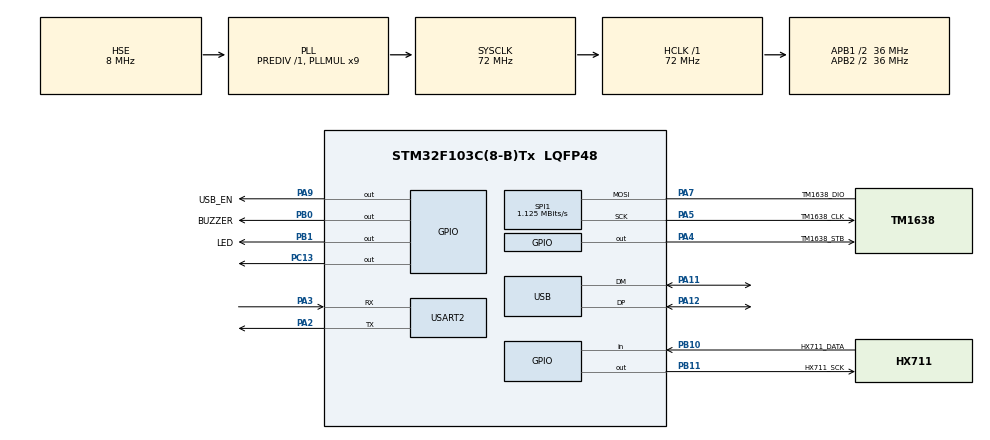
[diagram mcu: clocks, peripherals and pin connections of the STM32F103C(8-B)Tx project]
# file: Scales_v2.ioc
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FREERTOS.BinarySemaphores01=myBinarySem01,Dynamic,NULL
FREERTOS.Tasks01=defaultTask,0,256,StartDefaultTask,Default,NULL,Dynamic,NULL,NULL
FREERTOS.configMINIMAL_STACK_SIZE=256
FREERTOS.configTOTAL_HEAP_SIZE=8500
FREERTOS.configUSE_TIMERS=1
Mcu.Family=STM32F1
Mcu.Name=STM32F103C(8-B)Tx
Mcu.Package=LQFP48
NVIC.PriorityGroup=NVIC_PRIORITYGROUP_4
NVIC.TIM4_IRQn=true\:0\:0\:false\:false\:true\:false\:false
NVIC.TimeBase=TIM4_IRQn
NVIC.TimeBaseIP=TIM4
NVIC.USB_LP_CAN1_RX0_IRQn=true\:5\:0\:false\:false\:true\:true\:false
PA11.Mode=Device
PA11.Signal=USB_DM
PA12.Mode=Device
PA12.Signal=USB_DP
PA13.Mode=Serial_Wire
PA13.Signal=SYS_JTMS-SWDIO
PA14.Mode=Serial_Wire
PA14.Signal=SYS_JTCK-SWCLK
PA2.Mode=Asynchronous
PA2.Signal=USART2_TX
PA3.Mode=Asynchronous
PA3.Signal=USART2_RX
PA4.GPIO_Label=TM1638_STB
PA4.GPIO_ModeDefaultOutputPP=GPIO_MODE_OUTPUT_PP
PA4.GPIO_PuPd=GPIO_PULLUP
PA4.GPIO_Speed=GPIO_SPEED_FREQ_LOW
PA4.PinState=GPIO_PIN_RESET
PA4.Signal=GPIO_Output
PA5.GPIO_Label=TM1638_CLK
PA5.GPIO_Mode=GPIO_MODE_AF_PP
PA5.GPIO_Speed=GPIO_SPEED_FREQ_HIGH
PA5.Mode=Simplex_Bidirectional_Master
PA5.Signal=SPI1_SCK
PA7.GPIO_Label=TM1638_DIO
PA7.GPIO_Mode=GPIO_MODE_AF_PP
PA7.GPIO_Speed=GPIO_SPEED_FREQ_HIGH
PA7.Mode=Simplex_Bidirectional_Master
PA7.Signal=SPI1_MOSI
PA9.GPIO_Label=USB_EN
PA9.GPIO_PuPd=GPIO_PULLDOWN
PA9.Signal=GPIO_Output
PB0.GPIO_Label=BUZZER
PB0.GPIO_ModeDefaultOutputPP=GPIO_MODE_OUTPUT_PP
PB0.Signal=GPIO_Output
PB1.GPIO_Label=LED
PB1.Signal=GPIO_Output
PB10.GPIO_Label=HX711_DATA
PB10.GPIO_PuPd=GPIO_PULLUP
PB10.Signal=GPIO_Input
PB11.GPIO_Label=HX711_SCK
PB11.Signal=GPIO_Output
PC13-TAMPER-RTC.Signal=GPIO_Output
PC14-OSC32_IN.Mode=LSE-External-Oscillator
PC14-OSC32_IN.Signal=RCC_OSC32_IN
PC15-OSC32_OUT.Mode=LSE-External-Oscillator
PC15-OSC32_OUT.Signal=RCC_OSC32_OUT
PD0-OSC_IN.Mode=HSE-External-Oscillator
PD0-OSC_IN.Signal=RCC_OSC_IN
PD1-OSC_OUT.Mode=HSE-External-Oscillator
PD1-OSC_OUT.Signal=RCC_OSC_OUT
ProjectManager.HeapSize=0x200
ProjectManager.StackSize=0x400
ProjectManager.TargetToolchain=TrueSTUDIO
RCC.AHBFreq_Value=72000000
RCC.APB1CLKDivider=RCC_HCLK_DIV2
RCC.APB1Freq_Value=36000000
RCC.APB1TimFreq_Value=72000000
RCC.APB2CLKDivider=RCC_HCLK_DIV2
RCC.APB2Freq_Value=36000000
RCC.APB2TimFreq_Value=72000000
RCC.HCLKFreq_Value=72000000
RCC.PLLMUL=RCC_PLL_MUL9
RCC.PLLSourceVirtual=RCC_PLLSOURCE_HSE
RCC.SYSCLKFreq_VALUE=72000000
RCC.SYSCLKSource=RCC_SYSCLKSOURCE_PLLCLK
RCC.USBFreq_Value=48000000
RCC.USBPrescaler=RCC_USBCLKSOURCE_PLL_DIV1_5
SPI1.BaudRatePrescaler=SPI_BAUDRATEPRESCALER_32
SPI1.CalculateBaudRate=1.125 MBits/s
SPI1.Direction=SPI_DIRECTION_1LINE
SPI1.FirstBit=SPI_FIRSTBIT_LSB
SPI1.Mode=SPI_MODE_MASTER
SPI1.VirtualType=VM_MASTER
USART2.VirtualMode=VM_ASYNC
USB_DEVICE.CLASS_NAME_FS=CDC
USB_DEVICE.USBD_MAX_NUM_INTERFACES=10
USB_DEVICE.VirtualMode=Cdc
USB_DEVICE.VirtualModeFS=Cdc_FS
VP_FREERTOS_VS_ENABLE.Mode=Enabled
VP_SYS_VS_tim4.Mode=TIM4
VP_TIM3_VS_ClockSourceINT.Mode=Internal
VP_USB_DEVICE_VS_USB_DEVICE_CDC_FS.Mode=CDC_FS
board=custom

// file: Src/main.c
/**
  ******************************************************************************
  * @file           : main.c
  * @brief          : Main program body
  * source code by hatab . Lutsk,UA'2019
  * Scales v2
  ******************************************************************************
  *
  ******************************************************************************
  */
#include "main.h"
#include "stm32f1xx_hal.h"
#include "cmsis_os.h"
#include "usb_device.h"

/* USER CODE BEGIN Includes */
//#include "float.h"
//#include "stdio.h"
#include "string.h"
#include "hx711.h"
#include "TM1638.h"
#include "eeprom.h"
#include "dwt_delay.h"
//#include "lcd.h"
/* USER CODE END Includes */

SPI_HandleTypeDef hspi1;

TIM_HandleTypeDef htim3;

UART_HandleTypeDef huart2;

osThreadId defaultTaskHandle;
osSemaphoreId myBinarySem01Handle;

/* USER CODE BEGIN PV */
extern USBD_HandleTypeDef hUsbDeviceFS;
osThreadId KeyboardTaskHandle;
HX711 hx711_config;
const char* INFO_PAGE = {"Scales v2.0, by Sergik (06.2020)\n\r\n\r"
		"usage:\n\r"
		"INFO        -this page\n\r"
		"CONFIG      -get config data\n\r"
		"BULK_ON     -bulk mode on\n\r"
		"BULK_OFF    -bulk mode off\n\r"
		"TARE        -taring scales (ZERO)\n\r"
		"AUTO_TAR:x  -auto taring mode (x=0or!0)\n\r"
		"TARE1KG     -taring with 1kg\n\r"
		"TARE2KG     -taring with 2g\n\r"
		"TARE_ETALON -change etalon weight for taring (in process...)\n\r"
		"SAVE_CFG    -store cal.data to EEPROM\n\r"
		"Send data to host DISABLED !\nSend any command to continue.\n"};

const char* CONFIG_STRING = {"BULK_ON:%01u;AUTO_TAR:%01u;CFG1:%06lu;CFG2:%06lu;ZERO:%06lu;TARE_WEIGHT:%03lu;CURRENT_WEIGHT:%05lu\nSend data to host DISABLED !\nSend any command to continue.\n"};
const char* TARE1KG_OK = {"TARE1KG:OK, UNITS:%06lua\n\r"};
const char* TARE2KG_OK = {"TARE2KG:OK, UNITS:%06lua\n\r"};

uint8_t snd_flag = 0;
uint8_t bulk_mode = 0;
uint8_t auto_taring_mode = 0;
uint16_t taring_etalon_weight = 1000.0f;
uint8_t old_flag_stab ,flag_stab;
uint8_t old_flag_usb ,flag_usb ;
uint8_t key = 0;
uint8_t cnt_auto_tare = 0;
uint8_t cnt_show_weight = 0;
uint8_t cnt_value_read = 0;
uint8_t us_const1 = 20;
//
// 20kg china sensor:BULK_ON:0;AUTO_CAL:0;CFG1:336996;CFG2:350075;ZERO:323121;TARE_WEIGHT:1000
// 50kg Zemic :BULK_ON:0;AUTO_CAL:0;CFG1:434080;CFG2:442853;ZERO:425397;TARE_WEIGHT:1000
//
int32_t RealZeroLevel = 478191;
int32_t ZeroLevel = 323121;
int32_t Real1kgLevel = 568495;
int32_t Real2kgLevel = 659005;
int32_t _1kgLevel = 336996;
int32_t _2kgLevel = 350075;
int32_t value;
int32_t weight_array[MAX_WEIGHT_ARRAY];
int32_t DataStore[NUM_CAL];// ={0,1,2,3};
/* USER CODE END PV */

void SystemClock_Config(void);
static void MX_GPIO_Init(void);
static void MX_SPI1_Init(void);
static void MX_USART2_UART_Init(void);
static void MX_TIM3_Init(void);
void StartDefaultTask(void const * argument);

/* USER CODE BEGIN PFP */
/* Private function prototypes -----------------------------------------------*/
void StartKeyboardTask(void const * argument);
void beep(uint16_t i);
void WriteDefaultsConstantToEEP(void);
void ReadConstantsFromEEP(void);
void TareScale();
/* USER CODE END PFP */

/* USER CODE BEGIN 0 */
//
// SPI low level functions
//
void spi_Send(uint8_t data) {
	HAL_SPI_Transmit(&hspi1, &data, 1, 1000);
}

void spi_Read_Reg( uint8_t data_mas[]) {//+
	uint8_t key_Reg_Adr =0x42;

	SPI1->CR1 |= SPI_CR1_BIDIOE;
	HAL_SPI_Transmit(&hspi1,&key_Reg_Adr , 1, 1000);

	SPI1->CR1 &= ~SPI_CR1_BIDIOE;
	HAL_SPI_Receive(&hspi1, data_mas, 4, 1000);
	SPI1->CR1 |= SPI_CR1_BIDIOE;
}
//
// EEPROM api functions
//
void ReadEEprom(void) {
	uint32_t data_;
	EE_Read(EEP_CHECK_ADDR,&data_);
	if (data_!= CHECK_DATA) {
		beep(500);
		HAL_Delay(50);
		beep(100);
		HAL_Delay(50);
		beep(100);
		HAL_Delay(50);
		beep(100);
		EE_Format();
		WriteDefaultsConstantToEEP();
		EE_Write(EEP_CHECK_ADDR,CHECK_DATA);
	 } else {
		 beep(10);
		 ReadConstantsFromEEP();
	 }
}

void WriteDefaultsConstantToEEP(void) {
	EE_Write(EE_1kgLevel, _1kgLevel); //
	EE_Write(EE_2kgLevel, _2kgLevel); //
	EE_Write(EE_ZeroLevel, ZeroLevel); //
	EE_Write(EE_BulkMode, bulk_mode); //
	EE_Write(EE_AutoCalMode,auto_taring_mode);
	EE_Write(EE_TareWeight,taring_etalon_weight);
	EE_Write(EE_UsConstant1,us_const1); // constant for delay in low level function for hx711
}

void ReadConstantsFromEEP(void) {
	uint32_t data_;
	EE_Read(EE_1kgLevel, &data_); _1kgLevel = data_;
	EE_Read(EE_2kgLevel,&data_); _2kgLevel = data_;
	EE_Read(EE_ZeroLevel,&data_); ZeroLevel = data_;
	EE_Read(EE_TareWeight,&data_); taring_etalon_weight = data_;
	EE_Read(EE_BulkMode,&data_); bulk_mode = data_;
	EE_Read(EE_AutoCalMode,&data_); auto_taring_mode = data_; //

	Real1kgLevel = _1kgLevel ;
	Real2kgLevel = _2kgLevel ;
	RealZeroLevel =  ZeroLevel ;
}

// hx711
int32_t ReadCount(void) {
    return HX711_Value(hx711_config) - 8000000;
}

int32_t GetMiddleFilterValue(int32_t rc) {
	uint32_t max = 0;
	uint32_t min = 0;
	uint32_t sum = 0;
	uint8_t i = 0;

	max = min = sum = DataStore[0] = rc;

	for(i=NUM_CAL-1; i!= 0; i--) {
		if(DataStore[i] > max)
			max = DataStore[i];
		else if(DataStore[i] < min)
			min = DataStore[i];

		sum = sum + DataStore[i];
		DataStore[i] = DataStore[i - 1];
	}

	i = NUM_CAL - 2;
	sum = sum - max - min;// + i/2;
	sum = sum/i;

	return sum;
}

// tm1638
void DynamicBright(uint8_t num) {
	for (uint8_t j=1;j<num;j++) {
		osDelay(TM1638_DELAY);
		for (uint8_t i=MAX_SEGMENTS+1;i>0;i--) {
			if (myBinarySem01Handle != pdFALSE) {
				xSemaphoreTake(myBinarySem01Handle, portMAX_DELAY );
				tm1638_Bright(i);
				osDelay(TM1638_DELAY);
				xSemaphoreGive(myBinarySem01Handle );
			}
		}
		for (uint8_t i=0;i<MAX_SEGMENTS+1;i++) {
			if (myBinarySem01Handle != pdFALSE) {
				xSemaphoreGive(myBinarySem01Handle );
				tm1638_Bright(i);
				osDelay(TM1638_DELAY);
				xSemaphoreGive(myBinarySem01Handle );
			}
		}
	}
}

// other UI functions
void beep(uint16_t i) {
	HAL_GPIO_WritePin(BUZZER_GPIO_Port,BUZZER_Pin,GPIO_PIN_SET);
	HAL_Delay(i);
	HAL_GPIO_WritePin(BUZZER_GPIO_Port,BUZZER_Pin,GPIO_PIN_RESET);
}

void ShowVar(uint32_t data) {
	if (myBinarySem01Handle != pdFALSE) {
		xSemaphoreTake(myBinarySem01Handle, portMAX_DELAY );
		tm1638_Clear(0);
		osDelay(TM1638_DELAY);
		tm1638_Digit( data ,1);
		osDelay(200);
		DynamicBright(10);
		xSemaphoreGive(myBinarySem01Handle);
	}
}

void TareScale() {
	int32_t Values = 0;
	for (uint8_t i = 0;i<NUM_CAL;i++) Values += GetMiddleFilterValue(ReadCount());
	RealZeroLevel = Values / NUM_CAL;
	ZeroLevel = GetMiddleFilterValue(ReadCount());

	uint32_t Delta = RealZeroLevel - ZeroLevel;
	Real1kgLevel =	_1kgLevel + Delta;
	Real2kgLevel = _2kgLevel + Delta;
}

uint32_t WeightCorrect(uint32_t _data) {
	uint32_t weight = (Real2kgLevel!=Real1kgLevel) ? (float)(_data - RealZeroLevel) / (float)(Real2kgLevel - Real1kgLevel) * TARE_WEIGHT : 0.0f;
	if (( (((uint8_t)weight >0) & ((uint8_t)weight<WEIGHT_LIMIT_FOR_TARE)) | (weight<0)) & (auto_taring_mode)) { // Check for auto calibration mode
		cnt_auto_tare++;
		if (cnt_auto_tare>CNT_AUTO_TARE) { // how times to read float weight
			if (snd_flag) beep(1);
			cnt_auto_tare = 0;
			TareScale();
			weight = (Real2kgLevel!=Real1kgLevel) ? (float)(_data - RealZeroLevel) / (float)(Real2kgLevel - Real1kgLevel) * TARE_WEIGHT : 0.0f;
			osDelay(AFTER_TARE_DELAY);
		}
	}
	if (weight > 99999 || weight < 0 ) {
		//if (snd_flag) beep(1);
		return 0;
	} else return weight;
}

// function return flag:
// 	0 - weight not change
// 	1 - weight stabilized
// 	2 - weight zero
//	3 - weight in stab progress
uint8_t CheckChangeWeight(uint32_t weight) {
    for (uint8_t i = MAX_WEIGHT_ARRAY-1;i>0;i--) weight_array[i] = weight_array[i-1];
    weight_array[0] = weight;

    if ( (weight_array[0] > weight_array[MAX_WEIGHT_ARRAY-1]-1) & (weight_array[0] < weight_array[MAX_WEIGHT_ARRAY-1]+5) ) return (WEIGHT_STATUS_STABILIZED);
    else return (WEIGHT_STATUS_STAB_PROGRESS);
}

void StartKeyboardTask(void const * argument ) {
	uint8_t debonce_Threshold =5;
	uint8_t debonce_Counter = 0;
	uint8_t data = 0;

	for(;;)	{
		if (myBinarySem01Handle != pdFALSE) {
			xSemaphoreTake(myBinarySem01Handle, portMAX_DELAY );
			data = tm1638_ReadKeys();
			osDelay(TM1638_DELAY);
			xSemaphoreGive(myBinarySem01Handle);
		}
		switch (data) {
			case 0x00:
				debonce_Counter=0;
				key = 0;
				break;
			case 0x01:
				if (debonce_Counter < debonce_Threshold) debonce_Counter++; else key = 1;
				break;
			case 0x02:
				if(debonce_Counter<debonce_Threshold)debonce_Counter++; else key = 3;
				break;
			case 0x10:
				if(debonce_Counter<debonce_Threshold)debonce_Counter++; else key = 2;
				break;
			case 0x20:
				if(debonce_Counter<debonce_Threshold)debonce_Counter++; else key =  4;
				break;
		}
		osDelay(1);
	}
}

void SendWeightToUsb(uint32_t weight) {
	char answer[25];

	if (old_flag_usb == 0) {
		snprintf(answer, sizeof(answer),"WEIGHT:%05lu\n\r",weight);
		CDC_Transmit_FS(answer, strlen(answer));
		CDC_Transmit_FS('\0', 0);
	}
}

void ShowWeight(uint32_t _data,bool check) {
	uint32_t weight;
	weight = WeightCorrect(_data);

	if (bulk_mode==1) SendWeightToUsb(weight);

	flag_stab = CheckChangeWeight(weight);
    if (flag_stab == WEIGHT_STATUS_STABILIZED) {
    	if (old_flag_stab != flag_stab) {
    		old_flag_stab = WEIGHT_STATUS_STABILIZED;
    		if (myBinarySem01Handle != pdFALSE) {
        		xSemaphoreGive(myBinarySem01Handle );
        		tm1638_Clear(0);
        		osDelay(TM1638_DELAY);
        		tm1638_Digit(weight ,1);
        		xSemaphoreGive(myBinarySem01Handle);
    		}
    	}
    	if (bulk_mode == 0)
    		if (old_flag_usb == 0) SendWeightToUsb(weight);
    } else  old_flag_stab =WEIGHT_STATUS_IDLE;
    osDelay(AFTER_SHOW_WEIGHT_DELAY);
}

void ProcessUsbFlag(void) {
	char str[255];

	switch (flag_usb ) {
	case TARE_FLAG:		// Taring scales
		beep(3);
		osDelay(55);
		beep(7);
		TareScale();
		snprintf(str, strlen(str),"TARE_ZERO:OK, UNITS:%06lua\n\r",ZeroLevel);
		CDC_Transmit_FS(str, strlen(str));
		flag_usb = old_flag_usb = 0;
		break;
	case WEIGHT_FLAG: // Send original units value data to the host
		value = ReadCount();
		beep(2);
		SendWeightToUsb(WeightCorrect(value));
		flag_usb = old_flag_usb=0;
		break;
	case CONFIG_FLAG:	// Send Configuration (conatants, current values) to the host
		if (old_flag_usb != flag_usb ) {
			beep(2);
			uint32_t temp = RealZeroLevel;
			ReadConstantsFromEEP();
			snprintf(str, strlen(CONFIG_STRING),CONFIG_STRING,bulk_mode,auto_taring_mode,_1kgLevel,_2kgLevel,ZeroLevel,taring_etalon_weight,WeightCorrect(value));
			RealZeroLevel = temp;

			CDC_Transmit_FS(str, strlen(str));
			CDC_Transmit_FS('\0', 0);
			bulk_mode = 0;
			old_flag_usb = flag_usb;
		}
		break;
	case INFO_FLAG:		// About page
		if (old_flag_usb != flag_usb ) {
			beep(5);
			osDelay(55);

			CDC_Transmit_FS(INFO_PAGE, strlen(INFO_PAGE));
			CDC_Transmit_FS('\0', 0);
			bulk_mode = 0;
			old_flag_usb = flag_usb;
		}
		break;
	case TARE1KG_FLAG:	// Taring with fixed 1xxx gr weight
		beep(20);
		value = ReadCount();
		_1kgLevel =  GetMiddleFilterValue(value); // 1kg

		snprintf(str, sizeof(str),TARE1KG_OK,value);
		CDC_Transmit_FS(str, strlen(str));
		CDC_Transmit_FS('\0', 0);
		flag_usb = old_flag_usb = 0;
		break;
	case TARE2KG_FLAG:	// Taring with fixed 2xxx gr weight
		beep(20);
		value = ReadCount();
		_2kgLevel =  GetMiddleFilterValue(value); // 2kg
		snprintf(str, sizeof(str),TARE2KG_OK,value);
		CDC_Transmit_FS(str, strlen(str));
		CDC_Transmit_FS('\0', 0);
		flag_usb = old_flag_usb = 0;
		break;
	case SAVE_CFG_FLAG:
		beep(5);
		osDelay(100);
		beep(5);
		osDelay(100);
		beep(5);

		EE_Write(EE_1kgLevel, _1kgLevel); //
		EE_Write(EE_2kgLevel, _2kgLevel); //
		EE_Write(EE_ZeroLevel, ZeroLevel); //
		EE_Write(EE_AutoCalMode, auto_taring_mode); //
		EE_Write(EE_TareWeight, taring_etalon_weight); //

		CDC_Transmit_FS("SAVED:OK\n\r", 10);
		CDC_Transmit_FS('\0', 0);
		flag_usb = old_flag_usb = 0;
		break;
	case BULK_ON_FLAG:
		beep(2);
		bulk_mode = 1;
		flag_usb = old_flag_usb = 0;

		CDC_Transmit_FS("BULK_ON:OK\n\r",12 );
		CDC_Transmit_FS('\0', 0);
		EE_Write(EE_BulkMode, 1);
		break;
	case BULK_OFF_FLAG:
		beep(2);
		bulk_mode = 0;
		flag_usb = old_flag_usb = 0;

		CDC_Transmit_FS("BULK_OFF:OK\n\r", 13);
		CDC_Transmit_FS('\0', 0);
		EE_Write(EE_BulkMode, 0);
		break;
	case SCALES_FLAG:
		beep(2);
		auto_taring_mode = 0;
		CDC_Transmit_FS((uint8_t*)"SCALES\n", 7);
		CDC_Transmit_FS('\0', 0);
		break;
	case AUTOTAR1_FLAG:
		beep(2);
		auto_taring_mode = 1;
		CDC_Transmit_FS((uint8_t*)"AUTO_TAR:1\n\rPlease Save Me !\n\r", (uint8_t)30);
		CDC_Transmit_FS('\0', 0);
		break;
	case AUTOTAR0_FLAG:
		beep(2);
		auto_taring_mode = 0;
		CDC_Transmit_FS((uint8_t*)"AUTO_TAR:1\n\rPlease Save Me !\n\r", (uint8_t)30);
		CDC_Transmit_FS('\0', 0);
		break;
	case CONTINUE_FLAG:
		beep(2);
		flag_usb = 0;
		old_flag_usb=0;
		break;
	} // end switch
}

/* USER CODE END 0 */

int main(void)
{

  /* MCU Configuration----------------------------------------------------------*/

  /* Reset of all peripherals, Initializes the Flash interface and the Systick. */
  HAL_Init();

  /* Configure the system clock */
  SystemClock_Config();

  /* Initialize all configured peripherals */
  MX_GPIO_Init();
  MX_SPI1_Init();
  MX_USART2_UART_Init();
  MX_TIM3_Init();
  /* USER CODE BEGIN 2 */

  hx711_config.gpioSck = GPIOB;// GPIOB;
  hx711_config.gpioData = GPIOB; //GPIOB;
  hx711_config.pinSck = GPIO_PIN_11; // GPIO_PIN_9;
  hx711_config.pinData = GPIO_PIN_10; // GPIO_PIN_8;
  hx711_config.gain = 1;
  hx711_config.offset = 0;
  beep(1);
  hx711_config = HX711_Tare(hx711_config,20);
  ReadEEprom();
  beep(1);

  tm1638_Init(7);
  tm1638_Digit(0,1);
  beep(10);
  tm1638_Clear(0);
  tm1638_Bright(5);
  tm1638_Digit(12345,0);
  HAL_Delay(150);

  for (uint8_t i = 7;i>0;i--) {
	  led_Set(i, 1);
	  HAL_Delay(50);
	  tm1638_Bright(i);
  }

  DWT_Init();
  /* USER CODE END 2 */

  /* Create the semaphores(s) */
  /* definition and creation of myBinarySem01 */
  osSemaphoreDef(myBinarySem01);
  myBinarySem01Handle = osSemaphoreCreate(osSemaphore(myBinarySem01), 1);

  /* Create the thread(s) */
  /* definition and creation of defaultTask */
  osThreadDef(defaultTask, StartDefaultTask, osPriorityNormal, 0, 256);
  defaultTaskHandle = osThreadCreate(osThread(defaultTask), NULL);

  /* USER CODE BEGIN RTOS_THREADS */
  /* add threads, ... */
  osThreadDef(KeyboardTask, StartKeyboardTask, osPriorityNormal, 0, 256);
  KeyboardTaskHandle = osThreadCreate(osThread(KeyboardTask), NULL);

  /* USER CODE END RTOS_THREADS */

  /* Start scheduler */
  osKernelStart();

  /* We should never get here as control is now taken by the scheduler */

  /* Infinite loop */
  while (1)
  {

  }

}

void SystemClock_Config(void)
{

  RCC_OscInitTypeDef RCC_OscInitStruct;
  RCC_ClkInitTypeDef RCC_ClkInitStruct;
  RCC_PeriphCLKInitTypeDef PeriphClkInit;

    /**Initializes the CPU, AHB and APB busses clocks
    */
  RCC_OscInitStruct.OscillatorType = RCC_OSCILLATORTYPE_HSE;
  RCC_OscInitStruct.HSEState = RCC_HSE_ON;
  RCC_OscInitStruct.HSEPredivValue = RCC_HSE_PREDIV_DIV1;
  RCC_OscInitStruct.HSIState = RCC_HSI_ON;
  RCC_OscInitStruct.PLL.PLLState = RCC_PLL_ON;
  RCC_OscInitStruct.PLL.PLLSource = RCC_PLLSOURCE_HSE;
  RCC_OscInitStruct.PLL.PLLMUL = RCC_PLL_MUL9;
  if (HAL_RCC_OscConfig(&RCC_OscInitStruct) != HAL_OK)
  {
    _Error_Handler(__FILE__, __LINE__);
  }

    /**Initializes the CPU, AHB and APB busses clocks
    */
  RCC_ClkInitStruct.ClockType = RCC_CLOCKTYPE_HCLK|RCC_CLOCKTYPE_SYSCLK
                              |RCC_CLOCKTYPE_PCLK1|RCC_CLOCKTYPE_PCLK2;
  RCC_ClkInitStruct.SYSCLKSource = RCC_SYSCLKSOURCE_PLLCLK;
  RCC_ClkInitStruct.AHBCLKDivider = RCC_SYSCLK_DIV1;
  RCC_ClkInitStruct.APB1CLKDivider = RCC_HCLK_DIV2;
  RCC_ClkInitStruct.APB2CLKDivider = RCC_HCLK_DIV2;

  if (HAL_RCC_ClockConfig(&RCC_ClkInitStruct, FLASH_LATENCY_2) != HAL_OK)
  {
    _Error_Handler(__FILE__, __LINE__);
  }

  PeriphClkInit.PeriphClockSelection = RCC_PERIPHCLK_USB;
  PeriphClkInit.UsbClockSelection = RCC_USBCLKSOURCE_PLL_DIV1_5;
  if (HAL_RCCEx_PeriphCLKConfig(&PeriphClkInit) != HAL_OK)
  {
    _Error_Handler(__FILE__, __LINE__);
  }

    /**Configure the Systick interrupt time
    */
  HAL_SYSTICK_Config(HAL_RCC_GetHCLKFreq()/1000);

    /**Configure the Systick
    */
  HAL_SYSTICK_CLKSourceConfig(SYSTICK_CLKSOURCE_HCLK);

  /* SysTick_IRQn interrupt configuration */
  HAL_NVIC_SetPriority(SysTick_IRQn, 15, 0);
}

/* SPI1 init function */
static void MX_SPI1_Init(void)
{

  /* SPI1 parameter configuration*/
  hspi1.Instance = SPI1;
  hspi1.Init.Mode = SPI_MODE_MASTER;
  hspi1.Init.Direction = SPI_DIRECTION_1LINE;
  hspi1.Init.DataSize = SPI_DATASIZE_8BIT;
  hspi1.Init.CLKPolarity = SPI_POLARITY_LOW;
  hspi1.Init.CLKPhase = SPI_PHASE_1EDGE;
  hspi1.Init.NSS = SPI_NSS_SOFT;
  hspi1.Init.BaudRatePrescaler = SPI_BAUDRATEPRESCALER_32;
  hspi1.Init.FirstBit = SPI_FIRSTBIT_LSB;
  hspi1.Init.TIMode = SPI_TIMODE_DISABLE;
  hspi1.Init.CRCCalculation = SPI_CRCCALCULATION_DISABLE;
  hspi1.Init.CRCPolynomial = 10;
  if (HAL_SPI_Init(&hspi1) != HAL_OK)
  {
    _Error_Handler(__FILE__, __LINE__);
  }

}

/* TIM3 init function */
static void MX_TIM3_Init(void)
{

  TIM_ClockConfigTypeDef sClockSourceConfig;
  TIM_MasterConfigTypeDef sMasterConfig;

  htim3.Instance = TIM3;
  htim3.Init.Prescaler = 0;
  htim3.Init.CounterMode = TIM_COUNTERMODE_UP;
  htim3.Init.Period = 0;
  htim3.Init.ClockDivision = TIM_CLOCKDIVISION_DIV1;
  htim3.Init.AutoReloadPreload = TIM_AUTORELOAD_PRELOAD_DISABLE;
  if (HAL_TIM_Base_Init(&htim3) != HAL_OK)
  {
    _Error_Handler(__FILE__, __LINE__);
  }

  sClockSourceConfig.ClockSource = TIM_CLOCKSOURCE_INTERNAL;
  if (HAL_TIM_ConfigClockSource(&htim3, &sClockSourceConfig) != HAL_OK)
  {
    _Error_Handler(__FILE__, __LINE__);
  }

  sMasterConfig.MasterOutputTrigger = TIM_TRGO_RESET;
  sMasterConfig.MasterSlaveMode = TIM_MASTERSLAVEMODE_DISABLE;
  if (HAL_TIMEx_MasterConfigSynchronization(&htim3, &sMasterConfig) != HAL_OK)
  {
    _Error_Handler(__FILE__, __LINE__);
  }

}

/* USART2 init function */
static void MX_USART2_UART_Init(void)
{

  huart2.Instance = USART2;
  huart2.Init.BaudRate = 115200;
  huart2.Init.WordLength = UART_WORDLENGTH_8B;
  huart2.Init.StopBits = UART_STOPBITS_1;
  huart2.Init.Parity = UART_PARITY_NONE;
  huart2.Init.Mode = UART_MODE_TX_RX;
  huart2.Init.HwFlowCtl = UART_HWCONTROL_NONE;
  huart2.Init.OverSampling = UART_OVERSAMPLING_16;
  if (HAL_UART_Init(&huart2) != HAL_OK)
  {
    _Error_Handler(__FILE__, __LINE__);
  }

}

/** Configure pins as
        * Analog
        * Input
        * Output
        * EVENT_OUT
        * EXTI
*/
static void MX_GPIO_Init(void)
{

  GPIO_InitTypeDef GPIO_InitStruct;

  /* GPIO Ports Clock Enable */
  __HAL_RCC_GPIOC_CLK_ENABLE();
  __HAL_RCC_GPIOD_CLK_ENABLE();
  __HAL_RCC_GPIOA_CLK_ENABLE();
  __HAL_RCC_GPIOB_CLK_ENABLE();

  /*Configure GPIO pin Output Level */
  HAL_GPIO_WritePin(GPIOC, GPIO_PIN_13, GPIO_PIN_RESET);

  /*Configure GPIO pin Output Level */
  HAL_GPIO_WritePin(GPIOA, TM1638_STB_Pin|USB_EN_Pin, GPIO_PIN_RESET);

  /*Configure GPIO pin Output Level */
  HAL_GPIO_WritePin(GPIOB, BUZZER_Pin|LED_Pin|HX711_SCK_Pin, GPIO_PIN_RESET);

  /*Configure GPIO pin : PC13 */
  GPIO_InitStruct.Pin = GPIO_PIN_13;
  GPIO_InitStruct.Mode = GPIO_MODE_OUTPUT_PP;
  GPIO_InitStruct.Pull = GPIO_NOPULL;
  GPIO_InitStruct.Speed = GPIO_SPEED_FREQ_LOW;
  HAL_GPIO_Init(GPIOC, &GPIO_InitStruct);

  /*Configure GPIO pin : TM1638_STB_Pin */
  GPIO_InitStruct.Pin = TM1638_STB_Pin;
  GPIO_InitStruct.Mode = GPIO_MODE_OUTPUT_PP;
  GPIO_InitStruct.Pull = GPIO_PULLUP;
  GPIO_InitStruct.Speed = GPIO_SPEED_FREQ_LOW;
  HAL_GPIO_Init(TM1638_STB_GPIO_Port, &GPIO_InitStruct);

  /*Configure GPIO pins : BUZZER_Pin LED_Pin HX711_SCK_Pin */
  GPIO_InitStruct.Pin = BUZZER_Pin|LED_Pin|HX711_SCK_Pin;
  GPIO_InitStruct.Mode = GPIO_MODE_OUTPUT_PP;
  GPIO_InitStruct.Pull = GPIO_NOPULL;
  GPIO_InitStruct.Speed = GPIO_SPEED_FREQ_LOW;
  HAL_GPIO_Init(GPIOB, &GPIO_InitStruct);

  /*Configure GPIO pin : HX711_DATA_Pin */
  GPIO_InitStruct.Pin = HX711_DATA_Pin;
  GPIO_InitStruct.Mode = GPIO_MODE_INPUT;
  GPIO_InitStruct.Pull = GPIO_PULLUP;
  HAL_GPIO_Init(HX711_DATA_GPIO_Port, &GPIO_InitStruct);

  /*Configure GPIO pin : USB_EN_Pin */
  GPIO_InitStruct.Pin = USB_EN_Pin;
  GPIO_InitStruct.Mode = GPIO_MODE_OUTPUT_PP;
  GPIO_InitStruct.Pull = GPIO_PULLDOWN;
  GPIO_InitStruct.Speed = GPIO_SPEED_FREQ_LOW;
  HAL_GPIO_Init(USB_EN_GPIO_Port, &GPIO_InitStruct);

}

void StartDefaultTask(void const * argument)
{
  /* init code for USB_DEVICE */
  MX_USB_DEVICE_Init();

  /* USER CODE BEGIN 5 */
  HAL_GPIO_WritePin(USB_EN_GPIO_Port,USB_EN_Pin,SET);
  /* Infinite loop */
	for(;;)	{
		value = GetMiddleFilterValue(ReadCount());
		ShowWeight(value,true);

		if (flag_usb) ProcessUsbFlag();

		switch (key) {
		case 1:
			beep(5);
			osDelay(100);
			TareScale();
			CDC_Transmit_FS("TARE:OK\n\r", 9);
			CDC_Transmit_FS('\0', 0);
			key=0;
			break; // Set ZERO (weight placed on the scales must be null)
		case 2:
			beep(5);
			osDelay(100);
			_1kgLevel =  value; // 100g
			CDC_Transmit_FS("TARE_1KG:OK\n\r", 9);
			CDC_Transmit_FS('\0', 0);
			key=0;
			break; // Set 100g LEVEL (weight on scales must equ 100 gramm )
		case 3:
			beep(5);
			osDelay(100);
			_2kgLevel =  value; // 200g
			CDC_Transmit_FS("TARE_2KG:OK\n\r", 9);
			CDC_Transmit_FS('\0', 0);
			key=0;
			break; // Set 200g LEVEL (weight on scales must equ 200 gramm )
		case 4:
			beep(5);
			osDelay(100);
			beep(5);
			WriteDefaultsConstantToEEP();
			for (uint8_t i = 1; i<MAX_SEGMENTS-1; i++) {
				if (myBinarySem01Handle != pdFALSE) {
					xSemaphoreTake(myBinarySem01Handle, portMAX_DELAY );
					tm1638_Clear(0);
					tm1638_Digit(0 ,i);
					osDelay(50);
					xSemaphoreGive(myBinarySem01Handle );
				}
			}
			for (uint8_t i = MAX_SEGMENTS; i>0; i--) {
				if (myBinarySem01Handle != pdFALSE) {
					xSemaphoreTake(myBinarySem01Handle, portMAX_DELAY );
					tm1638_Clear(0);
					tm1638_Digit(8 ,i);
					osDelay(50);
					xSemaphoreGive(myBinarySem01Handle );
				}
			}
			CDC_Transmit_FS("SAVE_CFG:OK\n\r", 9);
			CDC_Transmit_FS('\0', 0);

			key=0;
			break;
		default: // show
		{}
		} // end switch
		osDelay(1);
	}
  /* USER CODE END 5 */
}

void HAL_TIM_PeriodElapsedCallback(TIM_HandleTypeDef *htim)
{
  if (htim->Instance == TIM4) {
    HAL_IncTick();
  }
}

void _Error_Handler(char *file, int line)
{
  while(1)
  {
  }
}

/************************ (C) COPYRIGHT STMicroelectronics *****END OF FILE****/
